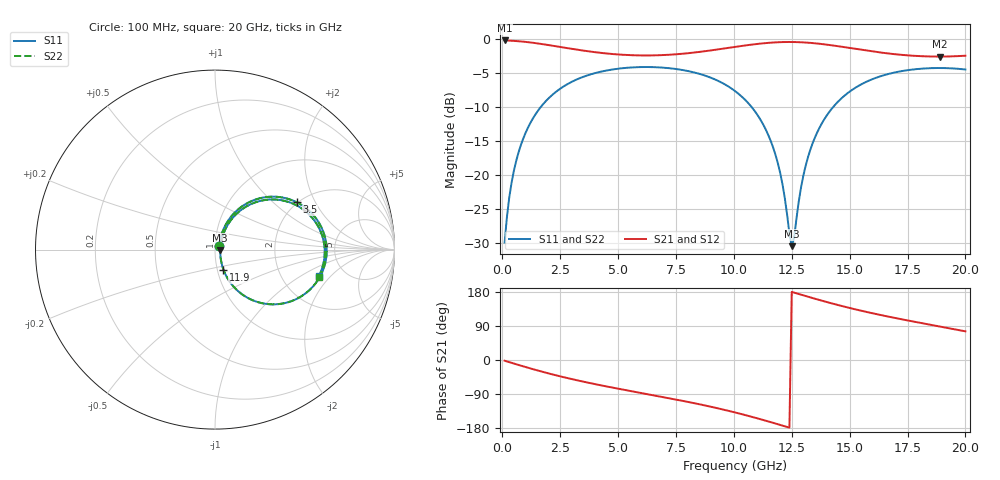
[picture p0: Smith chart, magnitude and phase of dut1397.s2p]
! Touchstone file exported from HFSS 2026.1.0
!  File:  C:/ffzhzh/LocalFiles/Ansys_Project_Files/temp_train_TSV_RDL_1397_1783351155_37376.aedt
!  Generated:  11:34:48 PM Jul  6, 2026
!  Design:  TSV_RDL
!  Project:  temp_train_TSV_RDL_1397_1783351155_37376
! Variables:
!  h_bsmrdl = 3.63um
!  h_ox = 20um
!  h_rdl = 5um
!  h_sub = 92.43um
!  h_tmrdl = 5.53um
!  h_tsv = 92.43um
!  h_via = 3um
!  l_bsmrdl = 479.58um
!  l_sub = 4788um
!  l_tmrdl = 713.51um
!  m_sub = 200um
!  pitch = 55.9um
!  r_tsv = 7.91um
!  s_tmrdl = 10um
!  w_bsmrdl = 10.96um
!  w_sub = 500um
!  w_tmrdl = 20.78um
!  x_tsv_center1 = 723.9um
!  x_tsv_center2 = 1214.44um
!  x_tsv_center3 = 1948.73um
!  x_tsv_center4 = 2439.27um
!  x_tsv_center5 = 3173.56um
!  x_tsv_center6 = 3664.1um
# GHz S MA R 50.000000
! Terminal data exported
! Port[1] = TM_RDL1_1_T1
! Port[2] = TM_RDL5_1_T1
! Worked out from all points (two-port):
!   200 points, 100 MHz to 20 GHz, reference 50 ohm
!   highest |S21| = -0.20 dB at 100 MHz (marker M1); lowest = -2.6 dB at 18.9 GHz (marker M2)
!   |S21| within 3 dB of the highest: start of sweep to end of sweep
!   lowest |S11| = -30.5 dB at 12.5 GHz (marker M3), VSWR 1.06, Z = 53 - j0.372 ohm
!   |S11| at or under -10 dB: start of sweep to 1.667 GHz; 10.76 GHz to 14.29 GHz (3.533 GHz wide, 28.2 % of centre)
!   |S22| runs from -30.5 to -4.1 dB; largest |S21 - S12| = 1.6e-14
!   S11 on the Smith chart (normalised r, x): 100 MHz: 1.05, +0.04; 3.5 GHz: 1.98, +1.44; 11.9 GHz: 1.07, -0.24; 20 GHz: 3.21, -1.49
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0.1  0.03156 41.3  0.9768 -1.9  0.9768 -1.9  0.03156 41.3
! Gamma 0 0 0 0
! Port Impedance 50 0 50 0
0.3  0.06779 63.4  0.9739 -5.7  0.9739 -5.7  0.06779 63.4
0.5  0.1068 67.1  0.9697 -9.4  0.9697 -9.4  0.1068 67.1
1.1  0.2207 62.9  0.9493 -20.3  0.9493 -20.3  0.2207 62.9
2.1  0.3798 48.9  0.8976 -37.0  0.8976 -37.0  0.3798 48.9
3.5  0.527 30.0  0.8223 -57.2  0.8223 -57.2  0.527 29.9
5.1  0.6075 11.1  0.768 -76.8  0.768 -76.8  0.6075 11.1
6.8  0.618 -7.5  0.7604 -96.2  0.7604 -96.2  0.618 -7.5
8.7  0.5419 -29.3  0.8115 -119.2  0.8115 -119.2  0.5419 -29.3
10.1  0.4079 -47.6  0.8782 -139.1  0.8782 -139.1  0.4079 -47.6
11.2  0.2459 -62.3  0.9282 -157.1  0.9282 -157.1  0.2459 -62.3
11.9  0.1216 -67.2  0.9475 -169.5  0.9475 -169.5  0.1217 -67.1
12.2  0.0675 -60.5  0.9511 -174.9  0.9511 -174.9  0.06754 -60.4
12.5  0.02973 -6.8  0.9515 179.6  0.9515 179.6  0.02987 -6.7
12.6  0.03407 26.0  0.9509 177.8  0.9509 177.8  0.03421 25.9
13  0.09816 61.8  0.9452 170.6  0.9452 170.6  0.09823 61.7
13.4  0.1702 62.4  0.9343 163.5  0.9343 163.5  0.1702 62.3
14  0.2713 56.1  0.9104 153.2  0.9104 153.2  0.2714 56.1
14.7  0.3726 46.9  0.8757 141.9  0.8757 141.9  0.3726 46.8
16.7  0.5545 21.6  0.7821 114.1  0.7821 114.1  0.5545 21.6
18.9  0.6117 -2.6  0.7431 88.3  0.7431 88.3  0.6118 -2.7
20  0.5964 -14.5  0.754 75.6  0.754 75.6  0.5964 -14.6
